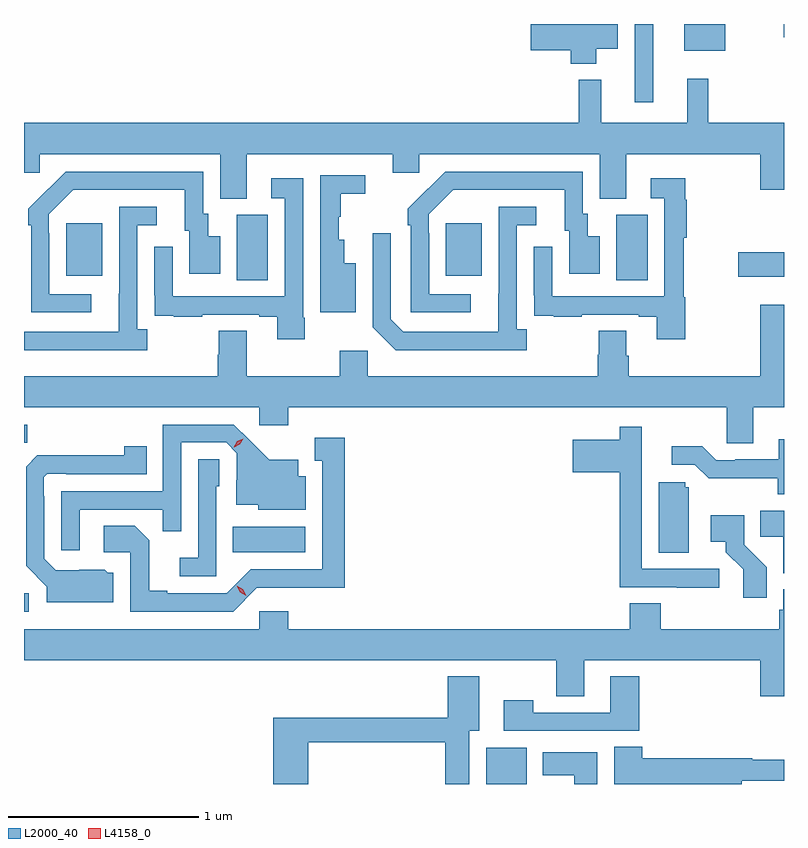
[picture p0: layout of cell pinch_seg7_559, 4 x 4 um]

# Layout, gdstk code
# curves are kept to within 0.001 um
import gdstk
lib = gdstk.Library(unit=1e-6, precision=1e-09)
def R(c, l, rs):  # rectangles x0, y0, x1, y1
    for r in rs: c.add(gdstk.rectangle(r[:2], r[2:], *l))
def P(c, l, *ps):  # polygons
    for p in ps: c.add(gdstk.Polygon(p, *l))
L2000_40 = (2000, 40)
L4158_0 = (4158, 0)

pinch_seg7_559 = lib.new_cell('pinch_seg7_559')
R(pinch_seg7_559, L2000_40, [(139.592,1047.917,139.804,1048.108), (137.158,1048.824,137.182,1048.92), (138.256,1049.138,138.637,1049.272), (137.158,1049.713,137.175,1049.808), (138.278,1050.568,138.442,1050.912), (140.276,1050.568,140.44,1050.912), (140.916,1050.587,141.158,1050.717), (137.381,1050.593,137.569,1050.868), (139.379,1050.593,139.567,1050.868), (140.373,1051.506,140.47,1051.917), (140.633,1051.775,140.848,1051.917), (141.157,1051.848,141.158,1051.917)])
P(pinch_seg7_559, L2000_40, [(140.17,1051.787),(140.284,1051.787),(140.284,1051.917),(139.824,1051.917),(139.824,1051.78),(140.036,1051.78),(140.036,1051.709),(140.17,1051.709)],
  [(138.331,1051.232),(139.1,1051.232),(139.1,1051.134),(139.239,1051.134),(139.239,1051.232),(140.189,1051.232),(140.189,1050.997),(140.329,1050.997),(140.329,1051.232),(141.032,1051.232),(141.032,1051.044),(141.158,1051.044),(141.158,1051.396),(140.758,1051.396),(140.758,1051.63),(140.648,1051.63),(140.648,1051.396),(140.195,1051.396),(140.195,1051.624),(140.077,1051.624),(140.077,1051.396),(137.158,1051.396),(137.158,1051.134),(137.241,1051.134),(137.241,1051.232),(138.191,1051.232),(138.191,1050.997),(138.331,1050.997)],
  [(137.512,1050.495),(137.292,1050.495),(137.292,1050.815),(137.289,1050.815),(137.289,1050.915),(137.418,1051.044),(138.005,1051.044),(138.005,1050.828),(138.029,1050.828),(138.029,1050.603),(138.19,1050.603),(138.19,1050.799),(138.127,1050.799),(138.127,1050.918),(138.102,1050.918),(138.102,1051.14),(137.378,1051.14),(137.181,1050.945),(137.181,1050.857),(137.196,1050.857),(137.196,1050.399),(137.512,1050.399)],
  [(139.51,1050.495),(139.29,1050.495),(139.29,1050.815),(139.287,1050.815),(139.287,1050.915),(139.416,1051.044),(140.003,1051.044),(140.003,1050.828),(140.027,1050.828),(140.027,1050.603),(140.188,1050.603),(140.188,1050.799),(140.125,1050.799),(140.125,1050.918),(140.1,1050.918),(140.1,1051.14),(139.376,1051.14),(139.179,1050.945),(139.179,1050.857),(139.194,1050.857),(139.194,1050.399),(139.51,1050.399)],
  [(138.904,1050.658),(138.844,1050.658),(138.844,1050.781),(138.815,1050.781),(138.815,1050.903),(138.826,1050.903),(138.826,1051.024),(138.955,1051.024),(138.955,1051.122),(138.717,1051.122),(138.717,1050.654),(138.716,1050.654),(138.716,1050.401),(138.904,1050.401)],
  [(138.636,1050.37),(138.627,1050.37),(138.627,1051.105),(138.459,1051.105),(138.459,1050.999),(138.531,1050.999),(138.531,1050.483),(137.94,1050.483),(137.94,1050.745),(137.844,1050.745),(137.844,1050.49),(137.845,1050.49),(137.845,1050.381),(137.947,1050.381),(137.947,1050.375),(138.095,1050.375),(138.095,1050.387),(138.395,1050.387),(138.395,1050.375),(138.491,1050.375),(138.491,1050.258),(138.636,1050.258)],
  [(140.638,1050.48),(140.63,1050.48),(140.63,1050.792),(140.645,1050.792),(140.645,1050.992),(140.638,1050.992),(140.638,1051.105),(140.457,1051.105),(140.457,1050.999),(140.529,1050.999),(140.529,1050.483),(139.938,1050.483),(139.938,1050.745),(139.842,1050.745),(139.842,1050.49),(139.843,1050.49),(139.843,1050.381),(139.945,1050.381),(139.945,1050.375),(140.093,1050.375),(140.093,1050.387),(140.393,1050.387),(140.393,1050.375),(140.489,1050.375),(140.489,1050.258),(140.638,1050.258)],
  [(137.806,1050.31),(137.754,1050.31),(137.754,1050.858),(137.857,1050.858),(137.857,1050.954),(137.658,1050.954),(137.658,1050.497),(137.657,1050.497),(137.657,1050.297),(137.158,1050.297),(137.158,1050.2),(137.806,1050.2)],
  [(139.804,1050.31),(139.752,1050.31),(139.752,1050.858),(139.855,1050.858),(139.855,1050.954),(139.656,1050.954),(139.655,1050.297),(139.155,1050.297),(139.089,1050.363),(139.089,1050.817),(138.993,1050.817),(138.993,1050.321),(139.114,1050.2),(139.804,1050.2)],
  [(140.995,1049.9),(141.158,1049.9),(141.158,1050.439),(141.032,1050.439),(141.032,1050.064),(140.342,1050.064),(140.342,1050.17),(140.329,1050.17),(140.329,1050.302),(140.182,1050.302),(140.182,1050.177),(140.177,1050.177),(140.177,1050.064),(138.966,1050.064),(138.966,1050.196),(138.82,1050.196),(138.82,1050.064),(138.331,1050.064),(138.331,1050.302),(138.184,1050.302),(138.184,1050.177),(138.179,1050.177),(138.179,1050.064),(137.158,1050.064),(137.158,1049.9),(138.396,1049.9),(138.396,1049.805),(138.548,1049.805),(138.548,1049.9),(140.856,1049.9),(140.856,1049.71),(140.995,1049.71)],
  [(137.451,1049.361),(137.887,1049.361),(137.887,1049.248),(137.985,1049.248),(137.985,1049.715),(138.222,1049.715),(138.279,1049.658),(138.279,1049.516),(138.275,1049.516),(138.275,1049.387),(138.39,1049.387),(138.39,1049.36),(138.64,1049.36),(138.64,1049.536),(138.601,1049.536),(138.601,1049.623),(138.449,1049.623),(138.262,1049.808),(137.889,1049.808),(137.889,1049.457),(137.355,1049.457),(137.355,1049.148),(137.451,1049.148)],
  [(140.818,1049.049),(140.409,1049.049),(140.409,1049.574),(140.41,1049.574),(140.41,1049.797),(140.293,1049.797),(140.293,1049.728),(140.046,1049.728),(140.046,1049.558),(140.293,1049.558),(140.293,1048.953),(140.593,1048.953),(140.593,1048.951),(140.818,1048.951)],
  [(138.384,1048.95),(138.847,1048.949),(138.847,1049.74),(138.689,1049.74),(138.689,1049.619),(138.728,1049.619),(138.728,1049.046),(138.351,1049.046),(138.225,1048.92),(137.911,1048.92),(137.911,1048.933),(137.817,1048.933),(137.817,1049.2),(137.741,1049.276),(137.577,1049.276),(137.577,1049.136),(137.718,1049.136),(137.718,1048.824),(138.258,1048.824)],
  [(141.158,1049.731),(141.131,1049.731),(141.131,1049.625),(140.902,1049.625),(140.902,1049.622),(140.802,1049.622),(140.729,1049.695),(140.568,1049.695),(140.568,1049.598),(140.688,1049.598),(140.761,1049.525),(141.124,1049.526),(141.124,1049.441),(141.158,1049.441)],
  [(137.629,1049.028),(137.598,1049.028),(137.582,1049.044),(137.325,1049.043),(137.265,1049.103),(137.265,1049.432),(137.262,1049.432),(137.262,1049.532),(137.28,1049.55),(137.38,1049.55),(137.38,1049.547),(137.804,1049.547),(137.804,1049.695),(137.686,1049.695),(137.686,1049.648),(137.228,1049.647),(137.169,1049.588),(137.169,1049.066),(137.279,1048.956),(137.279,1048.874),(137.629,1048.874)],
  [(138.171,1049.484),(138.186,1049.484),(138.186,1049.627),(138.075,1049.627),(138.075,1049.107),(137.979,1049.107),(137.979,1049.01),(138.171,1049.01)],
  [(140.656,1049.478),(140.637,1049.478),(140.637,1049.505),(140.498,1049.505),(140.498,1049.134),(140.656,1049.134)],
  [(141.158,1049.356),(141.034,1049.356),(141.034,1049.218),(141.155,1049.218),(141.155,1049.027),(141.158,1049.027)],
  [(141.068,1049.058),(140.949,1049.177),(140.949,1049.332),(140.772,1049.332),(140.772,1049.192),(140.852,1049.192),(140.852,1049.137),(140.943,1049.047),(140.943,1048.896),(141.068,1048.896)],
  [(140.107,1048.568),(141.032,1048.568),(141.032,1048.38),(141.158,1048.38),(141.158,1048.942),(141.153,1048.942),(141.153,1048.833),(141.133,1048.833),(141.133,1048.732),(140.51,1048.732),(140.51,1048.868),(140.345,1048.868),(140.345,1048.732),(138.548,1048.732),(138.548,1048.825),(138.396,1048.825),(138.396,1048.732),(137.158,1048.732),(137.158,1048.568),(139.96,1048.568),(139.96,1048.378),(140.107,1048.378)],
  [(138.653,1048.138),(139.376,1048.138),(139.376,1047.917),(139.501,1047.917),(139.501,1048.196),(139.555,1048.196),(139.555,1048.483),(139.388,1048.483),(139.388,1048.267),(138.47,1048.267),(138.47,1047.917),(138.653,1047.917)],
  [(140.396,1048.483),(140.243,1048.483),(140.243,1048.293),(139.839,1048.293),(139.839,1048.357),(139.683,1048.357),(139.683,1048.197),(140.396,1048.197)],
  [(140.936,1047.935),(141.158,1047.935),(141.158,1048.045),(140.99,1048.045),(140.99,1048.052),(140.411,1048.052),(140.411,1048.112),(140.264,1048.112),(140.264,1047.917),(140.936,1047.917)],
  [(140.176,1048.084),(139.889,1048.084),(139.889,1047.962),(140.054,1047.962),(140.054,1047.917),(140.176,1047.917)])
P(pinch_seg7_559, L4158_0, [(138.328,1048.909),(138.296,1048.927),(138.278,1048.96),(138.278,1048.96),(138.278,1048.96),(138.31,1048.942),(138.328,1048.909),(138.328,1048.909)],
  [(138.263,1049.69),(138.263,1049.69),(138.281,1049.72),(138.311,1049.735),(138.312,1049.735),(138.312,1049.735),(138.294,1049.705),(138.264,1049.69)])

lib.write_gds('pinch_seg7_559.gds')
